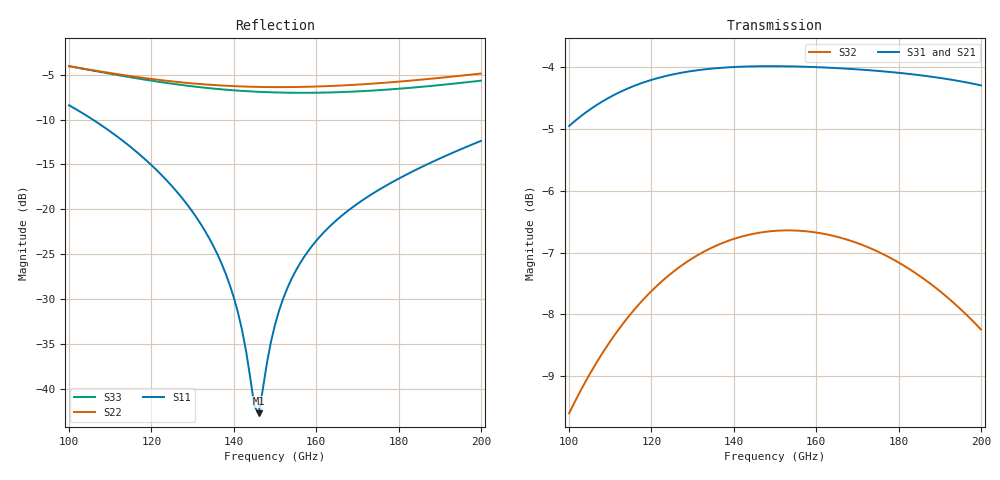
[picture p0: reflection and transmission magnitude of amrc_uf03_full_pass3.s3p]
! Created with skrf 2.1.0 (http://scikit-rf.org).
# GHz S DB R 50.0
! Port[1] = P1
! Port[2] = P2
! Port[3] = P3
!freq dBS11 angS11 dBS12 angS12 dBS13 angS13
! dBS21 angS21 dBS22 angS22 dBS23 angS23
! dBS31 angS31 dBS32 angS32 dBS33 angS33
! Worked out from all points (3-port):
!   101 points, 100 GHz to 200 GHz, reference 50 ohm
!   strongest paths, dB at 100 GHz, 125 GHz, 150 GHz, 175 GHz, 200 GHz:
!     S31: -4.9, -4.1, -4.0, -4.1, -4.3
!     S21: -4.7, -4.0, -4.0, -4.2, -4.7
!     S32: -9.6, -7.3, -6.6, -7.0, -8.2
!   lowest |S11| = -42.8 dB at 146 GHz (marker M1), VSWR 1.01, Z = 49.3 - j0.0198 ohm
!   |S11| at or under -10 dB: 105.7 GHz to end of sweep
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100  -8.40 129.7  -4.70 -11.0  -4.95 165.3
     -4.70 -11.0  -4.04 60.2  -9.60 90.8
     -4.95 165.3  -9.60 90.8  -4.04 50.4
119  -14.66 105.3  -4.08 -39.9  -4.22 134.7
     -4.08 -39.9  -5.40 43.3  -7.69 62.3
     -4.22 134.7  -7.69 62.3  -5.58 30.9
132  -21.67 94.7  -3.96 -57.9  -4.04 115.7
     -3.96 -57.9  -6.04 33.5  -7.01 44.4
     -4.04 115.7  -7.01 44.4  -6.39 19.8
140  -29.85 96.0  -3.95 -68.3  -3.99 104.7
     -3.95 -68.3  -6.26 27.8  -6.78 33.9
     -3.99 104.7  -6.78 33.9  -6.73 13.5
145  -41.96 142.5  -3.97 -74.6  -3.98 98.0
     -3.97 -74.6  -6.34 24.3  -6.69 27.5
     -3.98 98.0  -6.69 27.5  -6.88 9.7
146  -42.76 -178.4  -3.97 -75.9  -3.98 96.7
     -3.97 -75.9  -6.35 23.6  -6.68 26.3
     -3.98 96.7  -6.68 26.3  -6.90 8.9
150  -32.89 -121.7  -3.99 -80.8  -3.98 91.4
     -3.99 -80.8  -6.37 20.7  -6.65 21.3
     -3.98 91.4  -6.65 21.3  -6.97 5.9
156  -26.09 -115.0  -4.03 -88.1  -3.99 83.7
     -4.03 -88.1  -6.35 16.3  -6.65 14.0
     -3.99 83.7  -6.65 14.0  -7.01 1.4
165  -21.19 -115.8  -4.10 -99.0  -4.01 72.3
     -4.10 -99.0  -6.22 9.4  -6.74 3.2
     -4.01 72.3  -6.74 3.2  -6.95 -5.5
200  -12.38 -131.3  -4.67 -141.0  -4.29 28.0
     -4.67 -141.0  -4.86 -20.9  -8.24 -38.0
     -4.29 28.0  -8.24 -38.0  -5.65 -35.2
